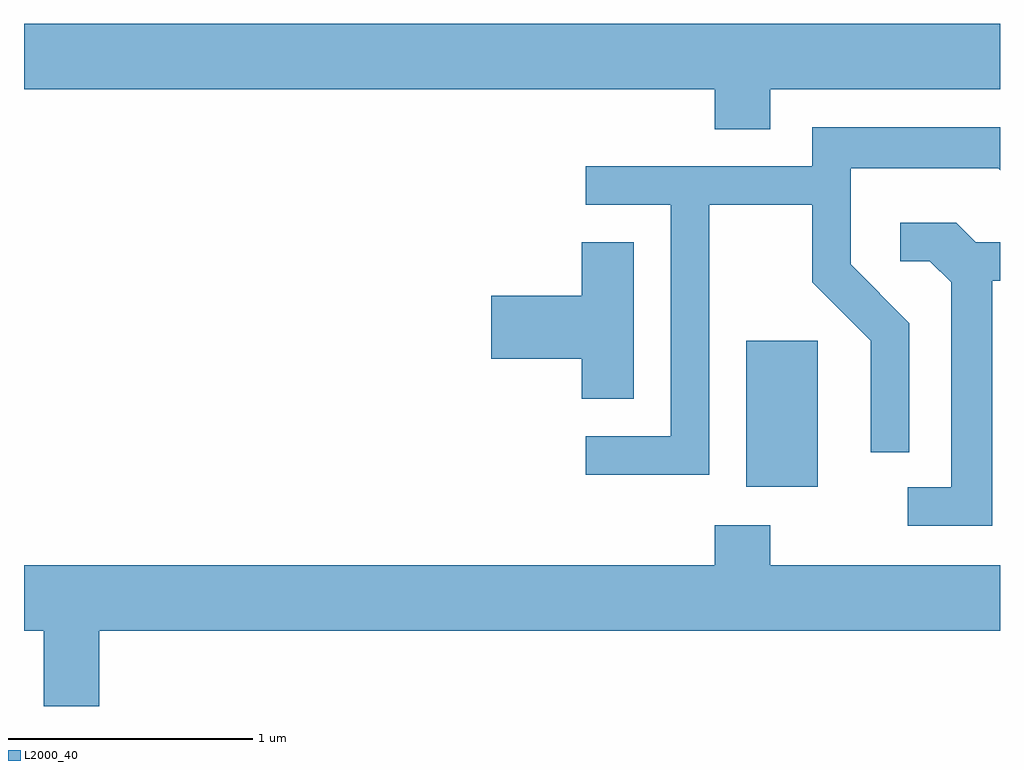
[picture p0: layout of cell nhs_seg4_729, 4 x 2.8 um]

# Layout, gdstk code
import gdstk
lib = gdstk.Library(unit=1e-6, precision=1e-09)
def R(c, l, rs):  # rectangles x0, y0, x1, y1
    for r in rs: c.add(gdstk.rectangle(r[:2], r[2:], *l))
def P(c, l, *ps):  # polygons
    for p in ps: c.add(gdstk.Polygon(p, *l))
L2000_40 = (2000, 40)

nhs_seg4_729 = lib.new_cell('nhs_seg4_729')
R(nhs_seg4_729, L2000_40, [(208.571,1353.046,208.864,1353.644)])
P(nhs_seg4_729, L2000_40, [(208.669,1354.676),(209.611,1354.676),(209.611,1354.944),(205.611,1354.944),(205.611,1354.676),(208.441,1354.676),(208.441,1354.511),(208.669,1354.511)],
  [(208.419,1354.201),(208.841,1354.201),(208.841,1353.884),(209.081,1353.644),(209.081,1353.188),(209.239,1353.188),(209.239,1353.717),(208.999,1353.957),(208.999,1354.351),(209.604,1354.351),(209.611,1354.344),(209.611,1354.519),(208.841,1354.519),(208.841,1354.359),(207.913,1354.359),(207.913,1354.201),(208.261,1354.201),(208.261,1353.254),(207.913,1353.254),(207.913,1353.096),(208.419,1353.096)],
  [(209.579,1353.891),(209.611,1353.891),(209.611,1354.049),(209.512,1354.049),(209.432,1354.129),(209.203,1354.129),(209.203,1353.971),(209.324,1353.971),(209.411,1353.884),(209.411,1353.044),(209.233,1353.044),(209.233,1352.886),(209.579,1352.886)],
  [(208.109,1354.049),(207.896,1354.049),(207.896,1353.829),(207.526,1353.829),(207.526,1353.571),(207.896,1353.571),(207.896,1353.406),(208.109,1353.406)],
  [(205.919,1352.456),(209.611,1352.456),(209.611,1352.724),(208.669,1352.724),(208.669,1352.889),(208.441,1352.889),(208.441,1352.724),(205.611,1352.724),(205.611,1352.456),(205.691,1352.456),(205.691,1352.146),(205.919,1352.146)])

lib.write_gds('nhs_seg4_729.gds')
